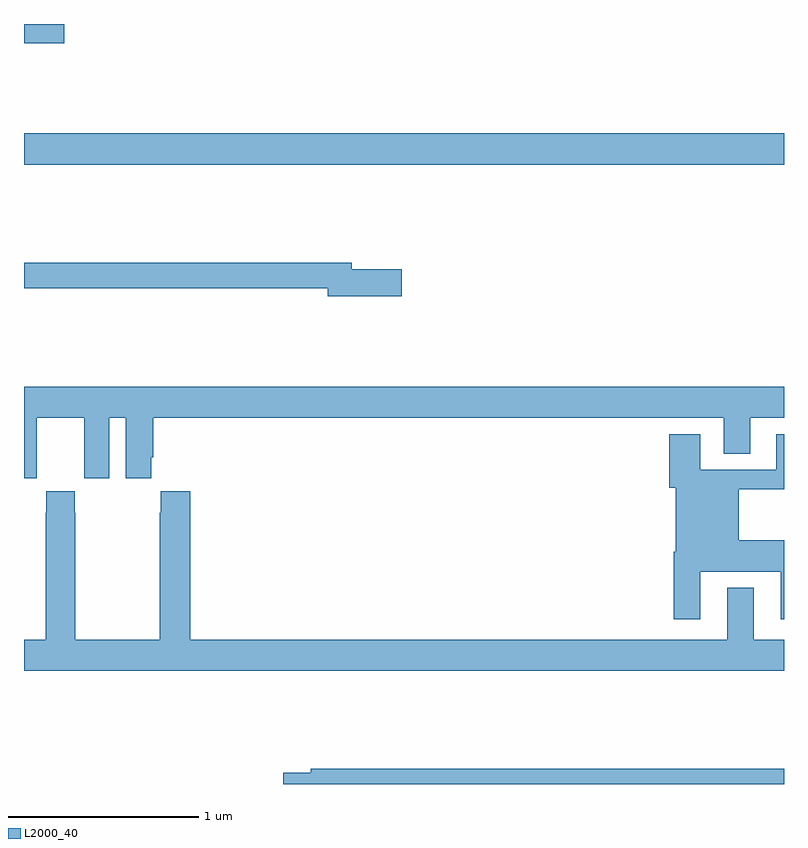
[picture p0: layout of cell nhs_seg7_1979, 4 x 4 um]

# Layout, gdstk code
import gdstk
lib = gdstk.Library(unit=1e-6, precision=1e-09)
def R(c, l, rs):  # rectangles x0, y0, x1, y1
    for r in rs: c.add(gdstk.rectangle(r[:2], r[2:], *l))
def P(c, l, *ps):  # polygons
    for p in ps: c.add(gdstk.Polygon(p, *l))
L2000_40 = (2000, 40)

nhs_seg7_1979 = lib.new_cell('nhs_seg7_1979')
R(nhs_seg7_1979, L2000_40, [(243,1023.26,247,1023.424), (243,1023.898,243.211,1024)])
P(nhs_seg7_1979, L2000_40, [(244.987,1022.708),(244.726,1022.708),(244.726,1022.744),(243,1022.744),(243,1022.608),(244.598,1022.608),(244.598,1022.566),(244.987,1022.566)],
  [(243.066,1021.72),(243.067,1021.72),(243.067,1021.928),(243.317,1021.928),(243.317,1021.72),(243.318,1021.72),(243.318,1021.608),(243.448,1021.608),(243.448,1021.928),(243.536,1021.928),(243.536,1021.608),(243.67,1021.608),(243.67,1021.72),(243.68,1021.72),(243.68,1021.928),(246.683,1021.928),(246.683,1021.738),(246.823,1021.738),(246.823,1021.928),(247,1021.928),(247,1022.092),(243,1022.092),(243,1021.608),(243.066,1021.608)],
  [(246.559,1021.118),(246.983,1021.118),(246.983,1020.867),(247,1020.867),(247,1021.282),(246.763,1021.282),(246.763,1021.552),(247,1021.552),(247,1021.84),(246.959,1021.84),(246.959,1021.653),(246.559,1021.653),(246.559,1021.84),(246.395,1021.84),(246.395,1021.56),(246.431,1021.56),(246.431,1021.222),(246.419,1021.222),(246.419,1020.867),(246.559,1020.867)],
  [(243.267,1021.427),(243.267,1021.54),(243.117,1021.54),(243.117,1021.427),(243.115,1021.427),(243.115,1020.76),(243,1020.76),(243,1020.596),(247,1020.596),(247,1020.76),(246.841,1020.76),(246.841,1021.033),(246.701,1021.033),(246.701,1020.76),(243.875,1020.76),(243.875,1021.54),(243.721,1021.54),(243.721,1021.427),(243.715,1021.427),(243.715,1020.76),(243.27,1020.76),(243.27,1021.427)],
  [(247,1020.08),(244.51,1020.08),(244.51,1020.06),(244.364,1020.06),(244.364,1020),(247,1020)])

lib.write_gds('nhs_seg7_1979.gds')
